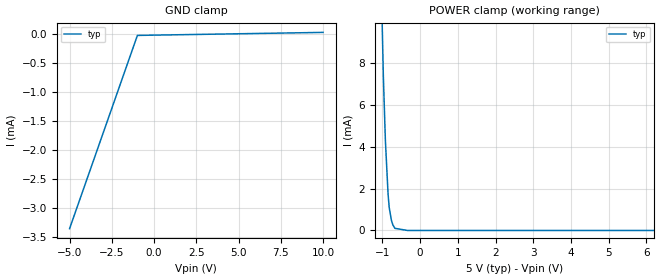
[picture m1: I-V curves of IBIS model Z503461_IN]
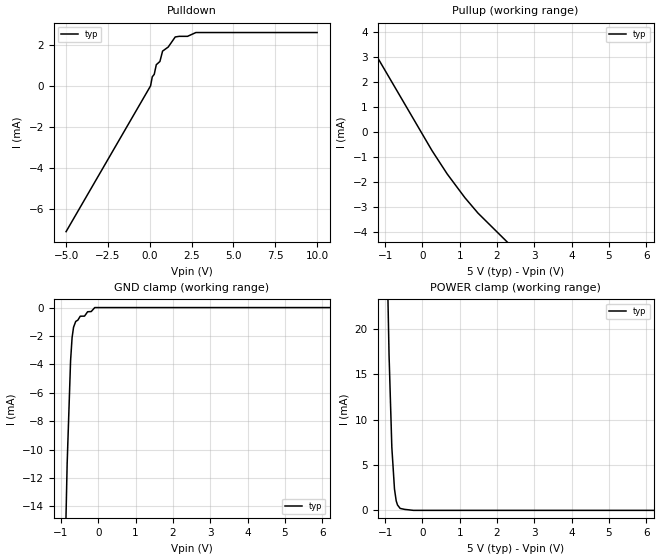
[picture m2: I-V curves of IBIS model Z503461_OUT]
| YOU ARE ONLY AUTHORIZED TO USE THIS SOFTWARE
| ACCORDING TO LICENSOR'S LICENSE RESTRICTIONS.
[IBIS Ver] 3.1
[File Name] mc14008bcl.ibs
[File Rev] 2.0
[Source] Measured and created by ICX Technology
[Date] Friday 7/14/00 9:07:51 AM
[Copyright]
| (C) COPYRIGHT 1993-2000
| MENTOR GRAPHICS CORPORATION
| ICX STANDARD LIBRARY, ICX PROJECT MODELING,
| ICX CUSTOM MODELING, ICX VENDOR MODEL
| ALL RIGHTS RESERVED.
| THE FOLLOWING ARE TRADEMARKS OR SERVICE MARKS OF
| MENTOR GRAPHICS CORPORATION:ICX (R), ICX STANDARD
| LIBRARY(R), ICX PROJECT MODELING(R), ICX CUSTOM
| MODELING(R), qualityIBIS(TM), MODELVIEWER(TM),
| AND MODELEDITOR(TM)
| ALL COPIES OF SOFTWARE, INCLUDING BUT NOT LIMITED TO
| ANY MODIFICATIONS, ENHANCEMENTS OR DERIVATIVE WORKS,
| MUST CONTAIN ALL MENTOR GRAPHICS CORPORATION'S
| NOTICES AND LEGENDS, INCLUDING THOSE EMBEDDED IN
| SOFTWARE AND THOSE AFFIXED TO SOFTWARE MEDIUM
| AND CONTAINER, AS RECEIVED FROM MENTOR GRAPHICS
| CORPORATION.
|  ZAP Model Builder 2.7
[Component] MC14008BCL
[Manufacturer] OnSemiconductor
[Package]
| variable   typ   min   max
R_pkg  .212ohms NA NA
L_pkg  4.758nH NA NA
C_pkg  1.944pF NA NA
[Pin] signal_name  model_name  R_pin  L_pin C_pin
1 A4 Z503461_IN .224 7.258n 2.683p
2 B3 Z503461_IN .216 5.258n 2.19p
3 A3 Z503461_IN .208 3.758n 1.697p
4 B2 Z503461_IN .2 2.758n 1.204p
5 A2 Z503461_IN .2 2.758n 1.204p
6 B1 Z503461_IN .208 3.758n 1.697p
7 A1 Z503461_IN .216 5.258n 2.19p
8 VSS GND .224 7.258n 2.683p
9 CIN Z503461_IN .224 7.258n 2.683p
10 S1 Z503461_OUT .216 5.258n 2.19p
11 S2 Z503461_OUT .208 3.758n 1.697p
12 S3 Z503461_OUT .2 2.758n 1.204p
13 S4_A Z503461_OUT .2 2.758n 1.204p
14 COUT Z503461_OUT .208 3.758n 1.697p
15 B4 Z503461_IN .216 5.258n 2.19p
16 VDD POWER .224 7.258n 2.683p
| Models and submodels in the file (2): Z503461_IN (Input), Z503461_OUT (Output)
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| (C) COPYRIGHT 1993-2000
| MENTOR GRAPHICS CORPORATION
| ICX STANDARD LIBRARY, ICX PROJECT MODELING,
| ICX CUSTOM MODELING, ICX VENDOR MODEL
| ALL RIGHTS RESERVED.
| THE FOLLOWING ARE TRADEMARKS OR SERVICE MARKS OF
| MENTOR GRAPHICS CORPORATION:ICX (R), ICX STANDARD
| LIBRARY(R), ICX PROJECT MODELING(R), ICX CUSTOM
| MODELING(R), qualityIBIS(TM), MODELVIEWER(TM),
| AND MODELEDITOR(TM)
| ALL COPIES OF SOFTWARE, INCLUDING BUT NOT LIMITED TO
| ANY MODIFICATIONS, ENHANCEMENTS OR DERIVATIVE WORKS,
| MUST CONTAIN ALL MENTOR GRAPHICS CORPORATION'S
| NOTICES AND LEGENDS, INCLUDING THOSE EMBEDDED IN
| SOFTWARE AND THOSE AFFIXED TO SOFTWARE MEDIUM
| AND CONTAINER, AS RECEIVED FROM MENTOR GRAPHICS
| CORPORATION.
| Model Application Version 1.89 2/18/99.
[Model] Z503461_IN
Model_type Input
Vinl = 1.500V
Vinh = 3.500V
C_comp 4.000pF NA NA
| variable typ   min   max
[Voltage Range] 5.000V NA NA
[GND Clamp Reference] 0.000V NA NA
[POWER Clamp Reference] 5.000V NA NA
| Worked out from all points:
|   POWER clamp passes 1 mA (typ) near -0.81 V on its own axis
[GND Clamp]
-5V       -3.353mA   NA         NA
-986mV    -26.88uA   NA         NA
10V       24.97uA    NA         NA
[POWER Clamp]
-5V       523.6mA    NA         NA
-1.21V    29.49mA    NA         NA
-1.064V   14.34mA    NA         NA
-976mV    7.334mA    NA         NA
-923mV    4.313mA    NA         NA
-851mV    1.727mA    NA         NA
-820mV    1.079mA    NA         NA
-762mV    481.9uA    NA         NA
-724mV    265uA      NA         NA
-669mV    101.9uA    NA         NA
-334.5mV  0A         NA         NA
10V       0A         NA         NA
| (C) COPYRIGHT 1993-2000
| MENTOR GRAPHICS CORPORATION
| ICX STANDARD LIBRARY, ICX PROJECT MODELING,
| ICX CUSTOM MODELING, ICX VENDOR MODEL
| ALL RIGHTS RESERVED.
| THE FOLLOWING ARE TRADEMARKS OR SERVICE MARKS OF
| MENTOR GRAPHICS CORPORATION:ICX (R), ICX STANDARD
| LIBRARY(R), ICX PROJECT MODELING(R), ICX CUSTOM
| MODELING(R), qualityIBIS(TM), MODELVIEWER(TM),
| AND MODELEDITOR(TM)
| ALL COPIES OF SOFTWARE, INCLUDING BUT NOT LIMITED TO
| ANY MODIFICATIONS, ENHANCEMENTS OR DERIVATIVE WORKS,
| MUST CONTAIN ALL MENTOR GRAPHICS CORPORATION'S
| NOTICES AND LEGENDS, INCLUDING THOSE EMBEDDED IN
| SOFTWARE AND THOSE AFFIXED TO SOFTWARE MEDIUM
| AND CONTAINER, AS RECEIVED FROM MENTOR GRAPHICS
| CORPORATION.
| Model Application Version 1.89 2/18/99.
[Model] Z503461_OUT
Model_type Output
Vref=0.000V
Rref=500.0Mohms
Cref=50.00pF
Vmeas=2.500V
C_comp 8.000pF NA NA
| variable typ   min   max
[Voltage Range] 5.000V NA NA
[POWER Clamp Reference] 5.000V NA NA
[Pullup Reference] 5.000V NA NA
[Pulldown Reference] 0.000V NA NA
[GND Clamp Reference] 0.000V NA NA
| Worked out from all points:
|   slope of the pulldown table from 0 to 0.75 V, typ, clamps not added: 438 ohm
|   slope of the pullup table from 0 to 0.75 V, typ, clamps not added: 427 ohm
|   GND clamp passes 1 mA (typ) near -0.61 V on its own axis
|   POWER clamp passes 1 mA (typ) near -0.70 V on its own axis
[GND Clamp]
-5V       -624.6mA   NA         NA
-1.011V   -32.25mA   NA         NA
-834.7mV  -10.98mA   NA         NA
-743.2mV  -3.749mA   NA         NA
-702.9mV  -2.121mA   NA         NA
-664mV    -1.391mA   NA         NA
-605.6mV  -978.1uA   NA         NA
-484mV    -607.4uA   NA         NA
-369.8mV  -603.2uA   NA         NA
-286.3mV  -294.1uA   NA         NA
-94.9mV   0A         NA         NA
10V       0A         NA         NA
[Pulldown]
-5V       -7.083mA   NA         NA
48.71mV   27.69uA    NA         NA
151.3mV   470.6uA    NA         NA
268mV     589.6uA    NA         NA
390.4mV   1.059mA    NA         NA
607.1mV   1.219mA    NA         NA
766.6mV   1.723mA    NA         NA
1.103V    1.922mA    NA         NA
1.522V    2.413mA    NA         NA
2.257V    2.444mA    NA         NA
2.757V    2.629mA    NA         NA
10V       2.629mA    NA         NA
[Pullup]
-5V       12.62mA    NA         NA
258mV     -739.6uA   NA         NA
665mV     -1.67mA    NA         NA
1.139V    -2.615mA   NA         NA
1.489V    -3.228mA   NA         NA
10V       -15.74mA   NA         NA
[POWER Clamp]
-5V       875.5mA    NA         NA
-894mV    17.18mA    NA         NA
-819mV    6.937mA    NA         NA
-748mV    2.345mA    NA         NA
-702mV    1.044mA    NA         NA
-667mV    592.1uA    NA         NA
-596mV    214.5uA    NA         NA
-478mV    108.4uA    NA         NA
-239mV    0A         NA         NA
10V       0A         NA         NA
[Ramp]
| variable typ min max
dV/dt_r 2.571/13.14n NA NA
dV/dt_f 2.571/18.84n NA NA
R_load = 2.500kOhms
